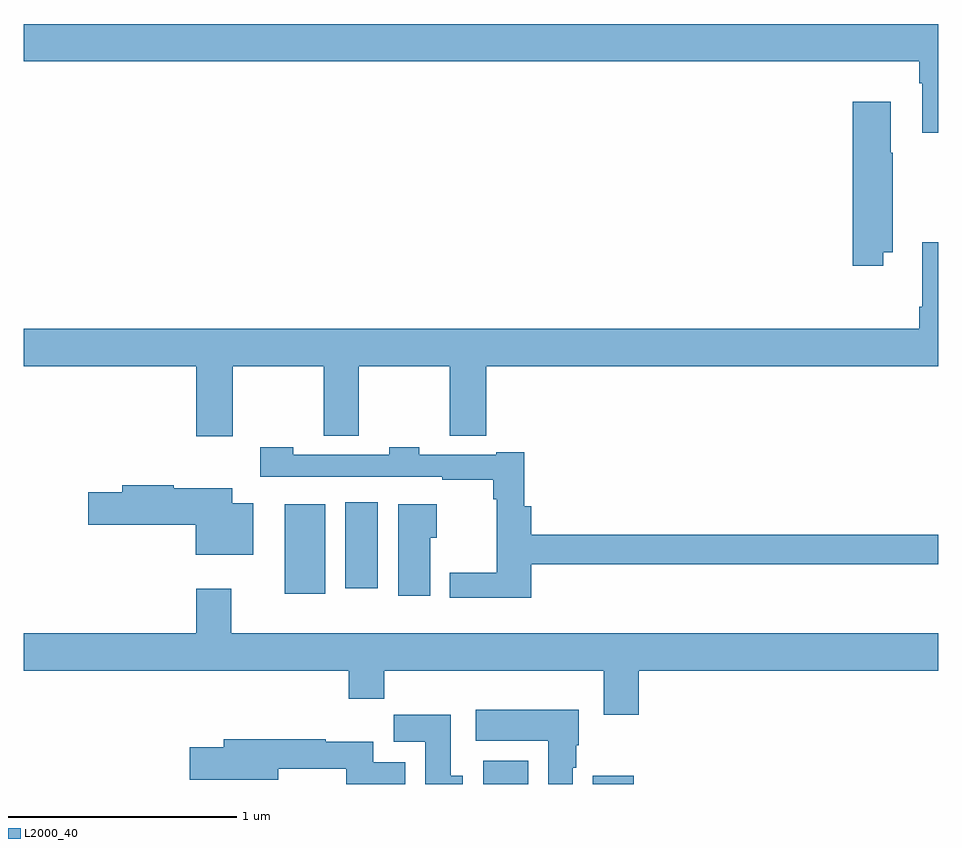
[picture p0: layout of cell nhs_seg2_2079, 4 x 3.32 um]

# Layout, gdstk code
import gdstk
lib = gdstk.Library(unit=1e-6, precision=1e-09)
def R(c, l, rs):  # rectangles x0, y0, x1, y1
    for r in rs: c.add(gdstk.rectangle(r[:2], r[2:], *l))
def P(c, l, *ps):  # polygons
    for p in ps: c.add(gdstk.Polygon(p, *l))
L2000_40 = (2000, 40)

nhs_seg2_2079 = lib.new_cell('nhs_seg2_2079')
R(nhs_seg2_2079, L2000_40, [(221.009,653.8,221.206,653.902), (221.489,653.8,221.668,653.836), (220.142,654.632,220.318,655.024), (220.406,654.657,220.549,655.033)])
P(nhs_seg2_2079, L2000_40, [(223,657.124),(219,657.124),(219,656.96),(222.917,656.96),(222.917,656.864),(222.929,656.864),(222.929,656.649),(223,656.649)],
  [(222.76,656.126),(222.801,656.126),(222.801,656.561),(222.793,656.561),(222.793,656.785),(222.626,656.785),(222.626,656.067),(222.76,656.067)],
  [(219.915,655.628),(220.312,655.628),(220.312,655.324),(220.466,655.324),(220.466,655.628),(220.864,655.628),(220.864,655.324),(221.024,655.324),(221.024,655.628),(223,655.628),(223,656.17),(222.929,656.17),(222.929,655.888),(222.917,655.888),(222.917,655.792),(219,655.792),(219,655.628),(219.755,655.628),(219.755,655.32),(219.915,655.32)],
  [(221.219,654.762),(223,654.762),(223,654.89),(221.219,654.89),(221.219,655.015),(221.189,655.015),(221.189,655.252),(221.066,655.252),(221.066,655.239),(220.731,655.239),(220.731,655.272),(220.599,655.272),(220.599,655.239),(220.179,655.239),(220.179,655.272),(220.035,655.272),(220.035,655.143),(220.831,655.143),(220.831,655.131),(221.053,655.131),(221.053,655.046),(221.068,655.046),(221.068,654.724),(220.863,654.724),(220.863,654.614),(221.219,654.614)],
  [(220.003,655.027),(219.913,655.027),(219.913,655.093),(219.656,655.093),(219.656,655.106),(219.431,655.106),(219.431,655.076),(219.282,655.076),(219.282,654.934),(219.752,654.934),(219.752,654.803),(220.003,654.803)],
  [(220.777,654.877),(220.807,654.877),(220.807,655.024),(220.637,655.024),(220.637,654.624),(220.777,654.624)],
  [(221.69,654.296),(223,654.296),(223,654.46),(219.907,654.46),(219.907,654.655),(219.755,654.655),(219.755,654.46),(219,654.46),(219,654.296),(220.421,654.296),(220.421,654.172),(220.577,654.172),(220.577,654.296),(221.537,654.296),(221.537,654.102),(221.69,654.102)],
  [(221.401,653.87),(221.416,653.87),(221.416,653.97),(221.428,653.97),(221.428,654.124),(220.977,654.124),(220.977,653.99),(221.294,653.99),(221.294,653.8),(221.401,653.8)],
  [(220.921,653.836),(220.867,653.836),(220.867,654.103),(220.618,654.103),(220.618,653.984),(220.757,653.984),(220.757,653.8),(220.921,653.8)],
  [(220.669,653.896),(220.528,653.896),(220.528,653.984),(220.322,653.984),(220.322,653.995),(219.875,653.995),(219.875,653.961),(219.726,653.961),(219.726,653.819),(220.114,653.819),(220.114,653.866),(220.411,653.866),(220.411,653.8),(220.669,653.8)])

lib.write_gds('nhs_seg2_2079.gds')
